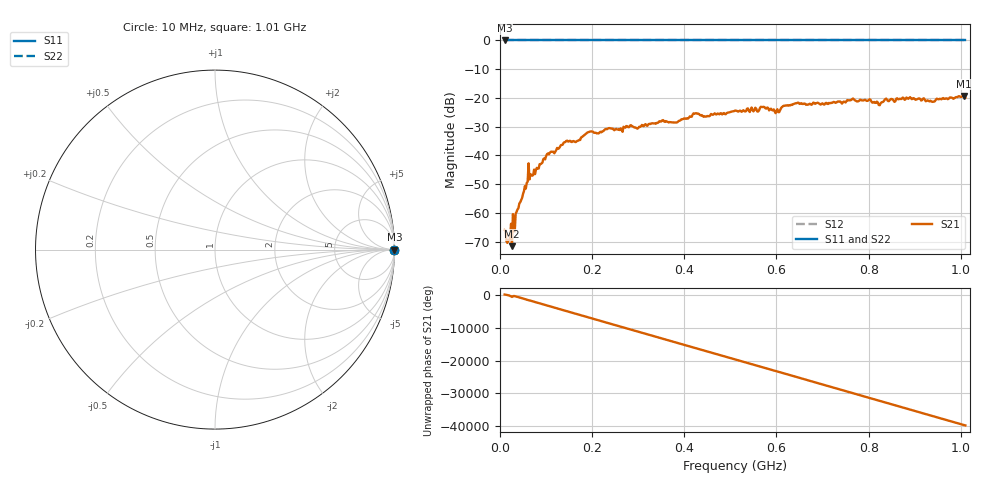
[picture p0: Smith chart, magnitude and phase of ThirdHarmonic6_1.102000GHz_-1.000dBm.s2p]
! 8/16/2025 10:23:08 AM
! C:\ANRITSUVNA\TEMP\TEMP.S2P
! CHANNEL.1
! TR.MEASUREMENT
! RAW.DATA
! RF.CORRECTION.OFF
! AVERAGING.OFF
! IF.BANDWIDTH: 5KHZ
! SWEEPTYPE:  FREQ.SWEEP(Linear)
! Reference Plane Port Info
! PORT:  PORT1  PORT2
! DISTANCE:  0  m  0  m
! TIME:  0  s  0  s
! PHASE.OFFSET:  0  deg.  0  deg.
! LOSS:  0  dB  0  dB
! REF.LOSS:  0  dB  0  dB
! REF.FREQ:  0  Hz  0  Hz
! Power Info
! POWER:  -20  dBm  -20  dBm
! EFF.POWER:  -20  dBm  -20  dBm
! SOURCE.ATTEN:  0  dB  0  dB
! TEST.ATTEN:  0  dB  0  dB
# GHZ S RI R 50.0
! FREQ.GHZ  S11RE  S11IM  S21RE  S21IM  S12RE  S12IM  S22RE  S22IM
!; PortSelection: Port_12
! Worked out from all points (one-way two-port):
!   501 points, 10 MHz to 1.01 GHz, reference 50 ohm
!   highest |S21| = -19.31 dB at 1.006 GHz (marker M1); lowest = -71.6 dB at 26 MHz (marker M2)
!   lowest |S11| = 0.0 dB at 10 MHz (marker M3)
!   |S11| at or under -10 dB: nowhere
!   |S22| runs from 0.0 to 0.0 dB; largest |S21 - S12| = 1.1
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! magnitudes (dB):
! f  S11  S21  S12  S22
! 10 MHz  0.0  -66.0  0.0  0.0
! 18 MHz  0.0  -69.6  0.0  0.0
! 26 MHz  0.0  -71.6  0.0  0.0
! 64 MHz  0.0  -48.4  0.0  0.0
! 74 MHz  0.0  -45.0  0.0  0.0
! 106 MHz  0.0  -39.7  0.0  0.0
! 142 MHz  0.0  -35.4  0.0  0.0
! 178 MHz  0.0  -33.6  0.0  0.0
! 194 MHz  0.0  -31.8  0.0  0.0
! 344 MHz  0.0  -28.5  0.0  0.0
! 382 MHz  0.0  -28.6  0.0  0.0
! 424 MHz  0.0  -25.4  0.0  0.0
! 446 MHz  0.0  -26.5  0.0  0.0
! 510 MHz  0.0  -24.4  0.0  0.0
! 570 MHz  0.0  -23.2  0.0  0.0
! 602 MHz  0.0  -23.9  0.0  0.0
! 620 MHz  0.0  -22.6  0.0  0.0
! 678 MHz  0.0  -22.1  0.0  0.0
! 844 MHz  0.0  -21.1  0.0  0.0
! 940 MHz  0.0  -21.3  0.0  0.0
! 1.006 GHz  0.0  -19.3  0.0  0.0
! 1.01 GHz  0.0  -20.0  0.0  0.0
